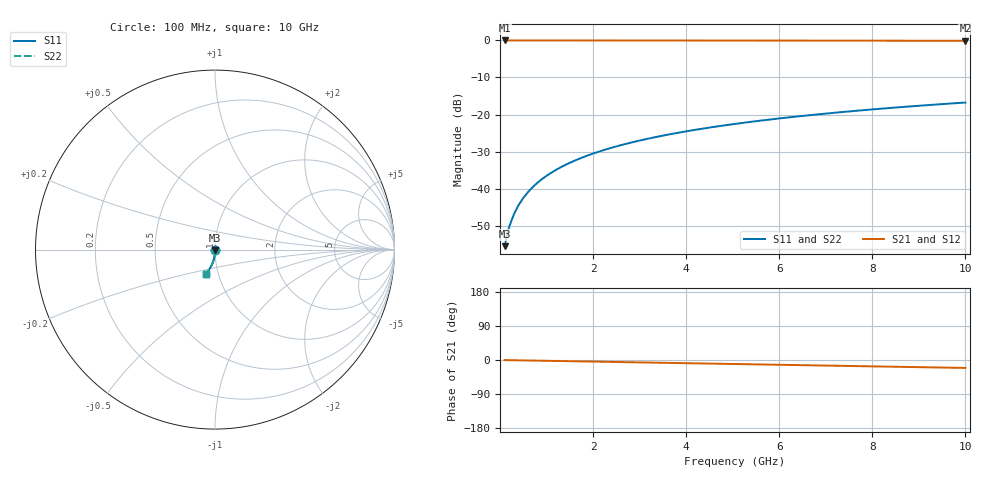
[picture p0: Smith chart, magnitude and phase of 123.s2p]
# Hz S RI R 50.00
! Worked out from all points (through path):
!   100 points, 100 MHz to 10 GHz, reference 50 ohm
!   highest |S21| = -0.01 dB at 100 MHz (marker M1); lowest = -0.1 dB at 10 GHz (marker M2)
!   group delay of S21, straight-line fit = 5.82 ps
!   lowest |S11| = -55.5 dB at 100 MHz (marker M3), VSWR 1.00, Z = 50.1 - j0.149 ohm
!   |S11| at or under -10 dB: start of sweep to end of sweep
!   |S22| runs from -55.5 to -16.8 dB; largest |S21 - S12| = 0
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1e8  0.000762 -0.00149  0.9992 -0.00366  0.9992 -0.00366  0.000762 -0.00149
2e8  0.000748 -0.00298  0.9992 -0.00733  0.9992 -0.00733  0.000748 -0.00298
3e8  0.000723 -0.00447  0.9991 -0.011  0.9991 -0.011  0.000723 -0.00447
4e8  0.000685 -0.00596  0.9991 -0.0147  0.9991 -0.0147  0.000685 -0.00596
5e8  0.000636 -0.00744  0.999 -0.0183  0.999 -0.0183  0.000636 -0.00744
6e8  0.000576 -0.00893  0.9989 -0.022  0.9989 -0.022  0.000576 -0.00893
7e8  0.000505 -0.0104  0.9988 -0.0256  0.9988 -0.0256  0.000505 -0.0104
8e8  0.000423 -0.0119  0.9987 -0.0293  0.9987 -0.0293  0.000423 -0.0119
9e8  0.00033 -0.0134  0.9985 -0.033  0.9985 -0.033  0.00033 -0.0134
1.1e9  0.00011 -0.0164  0.9982 -0.0403  0.9982 -0.0403  0.00011 -0.0164
1.4e9  -0.000301 -0.0208  0.9976 -0.0513  0.9976 -0.0513  -0.000301 -0.0208
1.8e9  -0.001 -0.0267  0.9966 -0.0659  0.9966 -0.0659  -0.001 -0.0267
2.1e9  -0.00164 -0.0312  0.9957 -0.0768  0.9957 -0.0768  -0.00164 -0.0312
2.5e9  -0.00265 -0.037  0.9942 -0.0914  0.9942 -0.0914  -0.00265 -0.037
2.9e9  -0.00382 -0.0429  0.9925 -0.106  0.9925 -0.106  -0.00382 -0.0429
3.4e9  -0.00553 -0.0501  0.9901 -0.1241  0.9901 -0.1241  -0.00553 -0.0501
4.2e9  -0.00882 -0.0616  0.9853 -0.153  0.9853 -0.153  -0.00882 -0.0616
5.1e9  -0.0133 -0.0742  0.9788 -0.1852  0.9788 -0.1852  -0.0133 -0.0742
5.9e9  -0.018 -0.0852  0.972 -0.2136  0.972 -0.2136  -0.018 -0.0852
6.7e9  -0.0233 -0.0958  0.9643 -0.2416  0.9643 -0.2416  -0.0233 -0.0958
8.4e9  -0.0366 -0.1173  0.9448 -0.3001  0.9448 -0.3001  -0.0366 -0.1173
1e10  -0.0513 -0.1358  0.9228 -0.3535  0.9228 -0.3535  -0.0513 -0.1358
